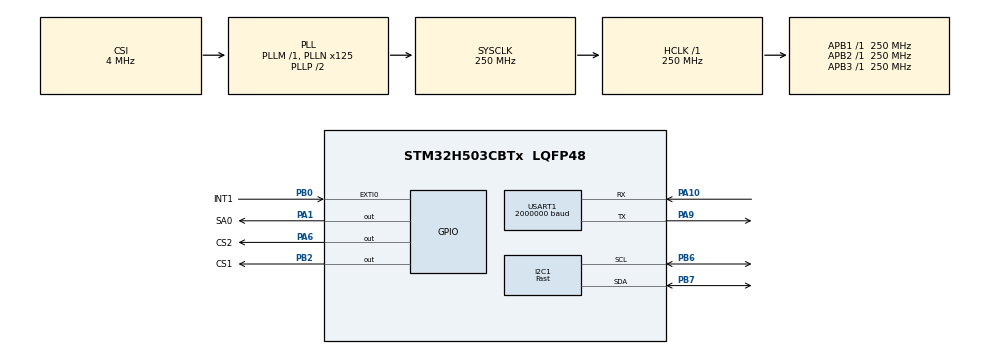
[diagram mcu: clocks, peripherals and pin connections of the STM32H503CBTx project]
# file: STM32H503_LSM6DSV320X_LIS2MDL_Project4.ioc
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I2C1.I2C_Speed_Mode=I2C_Fast
I2C1.Timing=0x10C043E5
Mcu.Family=STM32H5
Mcu.Name=STM32H503CBTx
Mcu.Package=LQFP48
NVIC.EXTI0_IRQn=true\:0\:0\:false\:false\:true\:true\:true\:true
NVIC.PriorityGroup=NVIC_PRIORITYGROUP_4
PA1.GPIO_Label=SA0
PA1.Signal=GPIO_Output
PA10.Mode=Asynchronous
PA10.Signal=USART1_RX
PA6.GPIO_Label=CS2
PA6.Signal=GPIO_Output
PA9.Mode=Asynchronous
PA9.Signal=USART1_TX
PB0.GPIO_Label=INT1
PB0.Signal=GPXTI0
PB2.GPIO_Label=CS1
PB2.Signal=GPIO_Output
PB6.Mode=I2C
PB6.Signal=I2C1_SCL
PB7.Mode=I2C
PB7.Signal=I2C1_SDA
ProjectManager.HeapSize=0x2000
ProjectManager.StackSize=0x4000
ProjectManager.TargetToolchain=MDK-ARM V5.37
RCC.ADCFreq_Value=250000000
RCC.AHBFreq_Value=250000000
RCC.APB1Freq_Value=250000000
RCC.APB1TimFreq_Value=250000000
RCC.APB2Freq_Value=250000000
RCC.APB2TimFreq_Value=250000000
RCC.APB3Freq_Value=250000000
RCC.CSI_VALUE=4000000
RCC.CortexFreq_Value=250000000
RCC.EPOD_VALUE=4000000
RCC.HCLKFreq_Value=250000000
RCC.HSE_VALUE=25000000
RCC.HSI48_VALUE=48000000
RCC.HSI_VALUE=64000000
RCC.LSE_VALUE=32768
RCC.LSIRC_VALUE=32000
RCC.PLL2FRACN=0
RCC.PLLFRACN=0
RCC.PLLN=125
RCC.SYSCLKFreq_VALUE=250000000
RCC.SYSCLKSource=RCC_SYSCLKSOURCE_PLLCLK
RCC.USBFreq_Value=48000000
RCC.VCOOutputFreq_Value=500000000
USART1.BaudRate=2000000
USART1.VirtualMode-Asynchronous=VM_ASYNC
VP_BOOTPATH_VS_BOOTPATH.Mode=BP_Activate
VP_CORTEX_M33_NS_VS_Hclk.Mode=Hclk_Mode
VP_ICACHE_VS_ICACHE.Mode=DirectMappedCache
VP_MEMORYMAP_VS_MEMORYMAP.Mode=CurAppReg
VP_PWR_VS_LPOM.Mode=PowerOptimisation
VP_PWR_VS_SECSignals.Mode=Security/Privilege
board=custom

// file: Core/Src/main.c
/* USER CODE BEGIN Header */
/**
  ******************************************************************************
  * @file           : main.c
  * @brief          : Main program body
  ******************************************************************************
  * @attention
  *
  * Copyright (c) 2026 STMicroelectronics.
  * All rights reserved.
  *
  * This software is licensed under terms that can be found in the LICENSE file
  * in the root directory of this software component.
  * If no LICENSE file comes with this software, it is provided AS-IS.
  *
  ******************************************************************************
  */
/* USER CODE END Header */
#include "main.h"
#include "i2c.h"
#include "icache.h"
#include "usart.h"
#include "gpio.h"

/* USER CODE BEGIN Includes */
#include "stdio.h"
#include "lsm6dsv320x_reg.h"
/* USER CODE END Includes */

void SystemClock_Config(void);

/* USER CODE BEGIN 0 */
int fputc(int ch, FILE *f){
	HAL_UART_Transmit(&huart1 , (uint8_t *)&ch, 1, 0xFFFF);
	return ch;
}

#define SENSOR_BUS hi2c1

/* Private macro -------------------------------------------------------------*/
#define    BOOT_TIME            10 //ms
#define    FIFO_WATERMARK       128
#define    CNT_FOR_OUTPUT       100

/* Private variables ---------------------------------------------------------*/
static uint8_t whoamI;
static uint8_t tx_buffer[1000];

static int16_t *datax;
static int16_t *datay;
static int16_t *dataz;
static int32_t *ts;
static lsm6dsv320x_filt_settling_mask_t filt_settling_mask;

/* Extern variables ----------------------------------------------------------*/

/* Private functions ---------------------------------------------------------*/

/*
 *   WARNING:
 *   Functions declare in this section are defined at the end of this file
 *   and are strictly related to the hardware platform used.
 *
 */
static int32_t platform_write(void *handle, uint8_t reg, const uint8_t *bufp,
                              uint16_t len);
static int32_t platform_read(void *handle, uint8_t reg, uint8_t *bufp,
                             uint16_t len);
static void tx_com( uint8_t *tx_buffer, uint16_t len );
static void platform_delay(uint32_t ms);
static void platform_init(void);

static   stmdev_ctx_t dev_ctx;
static double_t lowg_xl_sum[3], hg_xl_sum[3], gyro_sum[3];
static uint16_t lowg_xl_cnt = 0, hg_xl_cnt = 0, gyro_cnt = 0;

static uint16_t gravity_cnt = 0, gbias_cnt = 0, rot_cnt = 0;
static float_t gravity_sum[3], gbias_sum[3];
static double_t rot_sum[4];

static   uint8_t fifo_thread_run = 0;

static float_t npy_half_to_float(uint16_t h)
{
    union { float_t ret; uint32_t retbits; } conv;
    conv.retbits = lsm6dsv320x_from_f16_to_f32(h);
    return conv.ret;
}

typedef struct
{
  float yaw;
  float pitch;
  float roll;
} euler_angle_t;

typedef struct
{
  float quat_w;
  float quat_x;
  float quat_y;
  float quat_z;
} quaternion_t;

void quaternion_to_euler_angle(quaternion_t *q,euler_angle_t *euler)
{
		if (q->quat_w < 0.0f) {
			q->quat_x *= -1.0f;
			q->quat_y *= -1.0f;
			q->quat_z *= -1.0f;
			q->quat_w *= -1.0f;
		}

		float sqx = q->quat_x * q->quat_x;
		float sqy = q->quat_y * q->quat_y;
		float sqz = q->quat_z * q->quat_z;

		euler->yaw = -atan2f(2.0f * (q->quat_y * q->quat_w + q->quat_x * q->quat_z), 1.0f - 2.0f * (sqy + sqx));
		euler->pitch = -atan2f(2.0f * (q->quat_x * q->quat_y + q->quat_z * q->quat_w), 1.0f - 2.0f * (sqx + sqz));
		euler->roll = -asinf(2.0f * (q->quat_x * q->quat_w - q->quat_y * q->quat_z));

		if (euler->yaw < 0.0f)
		{
			euler->yaw += 2.0f * 3.1415926;
		}

		euler->yaw = 57.29578 * euler->yaw;
		euler->pitch = 57.29578 * euler->pitch;
		euler->roll = 57.29578 * euler->roll;
}

static void lsm6dsv320x_fifo_thread(void)
{
  float_t acceleration_mg[3];
  float_t angular_rate_mdps[3];
  float_t gravity_mg[3], gbias_mdps[3], quat[4];
  uint8_t *axis;

  if (fifo_thread_run) {
    lsm6dsv320x_fifo_status_t fifo_status;
    uint16_t num;

    fifo_thread_run = 0;

    /* Read watermark flag */
    lsm6dsv320x_fifo_status_get(&dev_ctx, &fifo_status);

    num = fifo_status.fifo_level;

    while (num--) {
      lsm6dsv320x_fifo_out_raw_t f_data;

      /* Read FIFO sensor value */
      lsm6dsv320x_fifo_out_raw_get(&dev_ctx, &f_data);
      datax = (int16_t *)&f_data.data[0];
      datay = (int16_t *)&f_data.data[2];
      dataz = (int16_t *)&f_data.data[4];
      ts = (int32_t *)&f_data.data[0];

      switch (f_data.tag) {
      case LSM6DSV320X_XL_NC_TAG:
        /* Read acceleration field data */
        acceleration_mg[0] = lsm6dsv320x_from_fs2_to_mg(*datax);
        acceleration_mg[1] = lsm6dsv320x_from_fs2_to_mg(*datay);
        acceleration_mg[2] = lsm6dsv320x_from_fs2_to_mg(*dataz);

        lowg_xl_sum[0] += acceleration_mg[0];
        lowg_xl_sum[1] += acceleration_mg[1];
        lowg_xl_sum[2] += acceleration_mg[2];
        lowg_xl_cnt++;
        break;

      case LSM6DSV320X_XL_HG_TAG:
        acceleration_mg[0] = lsm6dsv320x_from_fs320_to_mg(*datax);
        acceleration_mg[1] = lsm6dsv320x_from_fs320_to_mg(*datay);
        acceleration_mg[2] = lsm6dsv320x_from_fs320_to_mg(*dataz);

        hg_xl_sum[0] += acceleration_mg[0];
        hg_xl_sum[1] += acceleration_mg[1];
        hg_xl_sum[2] += acceleration_mg[2];
        hg_xl_cnt++;
        break;

      case LSM6DSV320X_GY_NC_TAG:
        angular_rate_mdps[0] = lsm6dsv320x_from_fs2000_to_mdps(*datax);
        angular_rate_mdps[1] = lsm6dsv320x_from_fs2000_to_mdps(*datay);
        angular_rate_mdps[2] = lsm6dsv320x_from_fs2000_to_mdps(*dataz);

        gyro_sum[0] += angular_rate_mdps[0];
        gyro_sum[1] += angular_rate_mdps[1];
        gyro_sum[2] += angular_rate_mdps[2];
        gyro_cnt++;
        break;

      case LSM6DSV320X_SFLP_GYROSCOPE_BIAS_TAG:
        axis = &f_data.data[0];
        gbias_mdps[0] = lsm6dsv320x_from_fs125_to_mdps(axis[0] | (axis[1] << 8));
        gbias_mdps[1] = lsm6dsv320x_from_fs125_to_mdps(axis[2] | (axis[3] << 8));
        gbias_mdps[2] = lsm6dsv320x_from_fs125_to_mdps(axis[4] | (axis[5] << 8));

        gbias_sum[0] += gbias_mdps[0];
        gbias_sum[1] += gbias_mdps[1];
        gbias_sum[2] += gbias_mdps[2];
        gbias_cnt++;
        break;

      case LSM6DSV320X_SFLP_GRAVITY_VECTOR_TAG:
        axis = &f_data.data[0];
        gravity_mg[0] = lsm6dsv320x_from_sflp_to_mg(axis[0] | (axis[1] << 8));
        gravity_mg[1] = lsm6dsv320x_from_sflp_to_mg(axis[2] | (axis[3] << 8));
        gravity_mg[2] = lsm6dsv320x_from_sflp_to_mg(axis[4] | (axis[5] << 8));

        gravity_sum[0] += gravity_mg[0];
        gravity_sum[1] += gravity_mg[1];
        gravity_sum[2] += gravity_mg[2];
        gravity_cnt++;
        break;

      case LSM6DSV320X_SFLP_GAME_ROTATION_VECTOR_TAG:
      {
        uint16_t *sflp = (uint16_t *)&f_data.data[2];

        if (f_data.data[0] == 0x00) {
          /* Game Rotation first word */
          quat[0] = lsm6dsv320x_from_quaternion_lsb_to_float(sflp[0]);
          quat[1] = lsm6dsv320x_from_quaternion_lsb_to_float(sflp[1]);
        } else if (f_data.data[0] == 0x01) {
          /* Game Rotation second word */
          quat[2] = lsm6dsv320x_from_quaternion_lsb_to_float(sflp[0]);
          quat[3] = lsm6dsv320x_from_quaternion_lsb_to_float(sflp[1]);

          rot_sum[0] += quat[0];
          rot_sum[1] += quat[1];
          rot_sum[2] += quat[2];
          rot_sum[3] += quat[3];

          rot_cnt++;
        } else {
          /* error */
          printf("[%02x - %02x] wrong word \r\n", f_data.data[0], f_data.data[1]);
       }

        break;
      }

      case LSM6DSV320X_TIMESTAMP_TAG:
        printf("TIMESTAMP [ms] %d\r\n", *ts);

        /* print avg low-g xl data */
        if (lowg_xl_cnt > 0) {
          acceleration_mg[0] = lowg_xl_sum[0] / lowg_xl_cnt;
          acceleration_mg[1] = lowg_xl_sum[1] / lowg_xl_cnt;
          acceleration_mg[2] = lowg_xl_sum[2] / lowg_xl_cnt;

          printf("lg xl (avg of %d samples) [mg]:%4.2f\t%4.2f\t%4.2f\r\n",
                  lowg_xl_cnt, acceleration_mg[0], acceleration_mg[1], acceleration_mg[2]);
          lowg_xl_sum[0] = lowg_xl_sum[1] = lowg_xl_sum[2] = 0.0;
          lowg_xl_cnt = 0;
        }

        /* print avg high-g xl data */
        if (hg_xl_cnt > 0) {
          acceleration_mg[0] = hg_xl_sum[0] / hg_xl_cnt;
          acceleration_mg[1] = hg_xl_sum[1] / hg_xl_cnt;
          acceleration_mg[2] = hg_xl_sum[2] / hg_xl_cnt;

          printf("hg xl (avg of %d samples) [mg]:%4.2f\t%4.2f\t%4.2f\r\n",
                  hg_xl_cnt, acceleration_mg[0], acceleration_mg[1], acceleration_mg[2]);
          hg_xl_sum[0] = hg_xl_sum[1] = hg_xl_sum[2] = 0.0;
          hg_xl_cnt = 0;
        }

        /* print avg gyro data */
        if (gyro_cnt > 0) {
          angular_rate_mdps[0] = gyro_sum[0] / gyro_cnt;
          angular_rate_mdps[1] = gyro_sum[1] / gyro_cnt;
          angular_rate_mdps[2] = gyro_sum[2] / gyro_cnt;

          printf("gyro (avg of %d samples) [mdps]:%4.2f\t%4.2f\t%4.2f\r\n",
                  gyro_cnt, angular_rate_mdps[0], angular_rate_mdps[1], angular_rate_mdps[2]);
          gyro_sum[0] = gyro_sum[1] = gyro_sum[2] = 0.0;
          gyro_cnt = 0;
        }

         /* print SFLP gbias data */
        if (gbias_cnt > 0) {
          gbias_mdps[0] = gbias_sum[0] / gbias_cnt;
          gbias_mdps[1] = gbias_sum[1] / gbias_cnt;
          gbias_mdps[2] = gbias_sum[2] / gbias_cnt;

          printf("SFLP gbias (avg of %d samples) [mdps]:%4.2f\t%4.2f\t%4.2f\r\n",
                  gbias_cnt, gbias_mdps[0], gbias_mdps[1], gbias_mdps[2]);
          gbias_sum[0] = gbias_sum[1] = gbias_sum[2] = 0.0;
          gbias_cnt = 0;
        }

         /* print SFLP gravity data */
        if (gravity_cnt > 0) {
          gravity_mg[0] = gravity_sum[0] / gravity_cnt;
          gravity_mg[1] = gravity_sum[1] / gravity_cnt;
          gravity_mg[2] = gravity_sum[2] / gravity_cnt;

          printf("SFLP gravity (avg of %d samples) [mg]:%4.2f\t%4.2f\t%4.2f\r\n",
                  gravity_cnt, gravity_mg[0], gravity_mg[1], gravity_mg[2]);
          gravity_sum[0] = gravity_sum[1] = gravity_sum[2] = 0.0;
          gravity_cnt = 0;
        }

         /* print SFLP game rotation data */
        if (rot_cnt > 0) {
          quat[0] = rot_sum[0] / rot_cnt;
          quat[1] = rot_sum[1] / rot_cnt;
          quat[2] = rot_sum[2] / rot_cnt;
          quat[3] = rot_sum[3] / rot_cnt;

          printf("SFLP rotation (avg of %d samples) [quaternions]:X: %2.3f\tY: %2.3f\tZ: %2.3f\tW: %2.3f\r\n\r\n",
                  rot_cnt, quat[0], quat[1], quat[2], quat[3]);
          rot_sum[0] = rot_sum[1] = rot_sum[2] = rot_sum[3] = 0.0;
          rot_cnt = 0;

        /* 轴变换：保持你“能跑通欧拉角”工程的映射 */
        quaternion_t q;
        q.quat_w =  quat[3];
        q.quat_x = -quat[1];
        q.quat_y =  quat[2];
        q.quat_z = -quat[0];

        euler_angle_t e;
        quaternion_to_euler_angle(&q, &e);

        /* 可选：Yaw 显示到 [-180, 180] */
        float yaw_print = e.yaw;
        if (yaw_print > 180.0f) {
          yaw_print -= 360.0f;
        }

        printf("Roll=%.2f, Pitch=%.2f, Yaw=%.2f\r\n",
               e.roll, e.pitch, yaw_print);

        }

        break;

      default:
        printf("[%02x] UNHANDLED TAG \r\n", f_data.tag);
        break;
      }
    }
  }
}

void HAL_GPIO_EXTI_Rising_Callback(uint16_t GPIO_Pin)
{
  if (GPIO_Pin == INT1_Pin) {
    fifo_thread_run = 1;
  }
}
/* USER CODE END 0 */

int main(void)
{

  /* MCU Configuration--------------------------------------------------------*/

  /* Reset of all peripherals, Initializes the Flash interface and the Systick. */
  HAL_Init();

  /* Configure the system clock */
  SystemClock_Config();

  /* Initialize all configured peripherals */
  MX_GPIO_Init();
  MX_I2C1_Init();
  MX_ICACHE_Init();
  MX_USART1_UART_Init();
  /* USER CODE BEGIN 2 */

	printf("HELLO!\n");
  HAL_GPIO_WritePin(CS1_GPIO_Port, CS1_Pin, GPIO_PIN_SET);
  HAL_GPIO_WritePin(SA0_GPIO_Port, SA0_Pin, GPIO_PIN_RESET);
  HAL_GPIO_WritePin(CS2_GPIO_Port, CS2_Pin, GPIO_PIN_SET);
	HAL_Delay(100);

  lsm6dsv320x_pin_int1_route_t pin_int = { 0 };

  /* Initialize mems driver interface */
  dev_ctx.write_reg = platform_write;
  dev_ctx.read_reg = platform_read;
  dev_ctx.mdelay = platform_delay;
  dev_ctx.handle = &SENSOR_BUS;

  /* Init test platform */
//  platform_init();

  /* Wait sensor boot time */
  platform_delay(BOOT_TIME);

  /* Check device ID */
  lsm6dsv320x_device_id_get(&dev_ctx, &whoamI);
	printf("LSM6DSV320X_ID=0x%x,whoamI=0x%x",LSM6DSV320X_ID,whoamI);
  if (whoamI != LSM6DSV320X_ID)
    while (1);

  /* Perform device power-on-reset */
  lsm6dsv320x_sw_por(&dev_ctx);

  /* Enable Block Data Update */
  lsm6dsv320x_block_data_update_set(&dev_ctx, PROPERTY_ENABLE);

  /*
   * Set FIFO watermark (number of unread sensor data TAG + 6 bytes
   * stored in FIFO) to FIFO_WATERMARK samples
   */
  lsm6dsv320x_fifo_watermark_set(&dev_ctx, FIFO_WATERMARK);

  /* Set FIFO batch XL/Gyro ODR */
  lsm6dsv320x_fifo_xl_batch_set(&dev_ctx, LSM6DSV320X_XL_BATCHED_AT_60Hz);
  lsm6dsv320x_fifo_hg_xl_batch_set(&dev_ctx, 1);
  lsm6dsv320x_fifo_gy_batch_set(&dev_ctx, LSM6DSV320X_GY_BATCHED_AT_120Hz);

  /* Set FIFO batch SFLP */
  lsm6dsv320x_sflp_data_rate_set(&dev_ctx, LSM6DSV320X_SFLP_120Hz);

  lsm6dsv320x_fifo_sflp_raw_t sflp =
        {
          .game_rotation = 1,
          .gravity = 1,
          .gbias = 1,
        };
  lsm6dsv320x_fifo_sflp_batch_set(&dev_ctx, sflp);

  lsm6dsv320x_sflp_game_rotation_set(&dev_ctx, PROPERTY_ENABLE);

  /* Set FIFO mode to Stream mode (aka Continuous Mode) */
  lsm6dsv320x_fifo_mode_set(&dev_ctx, LSM6DSV320X_STREAM_MODE);
  lsm6dsv320x_fifo_timestamp_batch_set(&dev_ctx, LSM6DSV320X_TMSTMP_DEC_32);
  lsm6dsv320x_timestamp_set(&dev_ctx, PROPERTY_ENABLE);

  /* Set Output Data Rate.
   * Selected data rate have to be equal or greater with respect
   * with MLC data rate.
   */
  lsm6dsv320x_xl_setup(&dev_ctx, LSM6DSV320X_ODR_AT_60Hz, LSM6DSV320X_XL_HIGH_PERFORMANCE_MD);
  lsm6dsv320x_hg_xl_data_rate_set(&dev_ctx, LSM6DSV320X_HG_XL_ODR_AT_480Hz, 0);
  lsm6dsv320x_gy_setup(&dev_ctx, LSM6DSV320X_ODR_AT_120Hz, LSM6DSV320X_GY_HIGH_PERFORMANCE_MD);

  /* Set full scale */
  lsm6dsv320x_xl_full_scale_set(&dev_ctx, LSM6DSV320X_2g);
  lsm6dsv320x_hg_xl_full_scale_set(&dev_ctx, LSM6DSV320X_320g);
  lsm6dsv320x_gy_full_scale_set(&dev_ctx, LSM6DSV320X_2000dps);

  /* Configure filtering chain */
  filt_settling_mask.drdy = PROPERTY_ENABLE;
  filt_settling_mask.irq_xl = PROPERTY_ENABLE;
  filt_settling_mask.irq_g = PROPERTY_ENABLE;
  lsm6dsv320x_filt_settling_mask_set(&dev_ctx, filt_settling_mask);
  lsm6dsv320x_filt_gy_lp1_set(&dev_ctx, PROPERTY_ENABLE);
  lsm6dsv320x_filt_gy_lp1_bandwidth_set(&dev_ctx, LSM6DSV320X_GY_ULTRA_LIGHT);
  lsm6dsv320x_filt_xl_lp2_set(&dev_ctx, PROPERTY_ENABLE);
  lsm6dsv320x_filt_xl_lp2_bandwidth_set(&dev_ctx, LSM6DSV320X_XL_STRONG);

  /* enable fifo_th on High-G XL (sensor at highest frequency) */
  pin_int.fifo_th = PROPERTY_ENABLE;
  lsm6dsv320x_pin_int1_route_set(&dev_ctx, &pin_int);
  //lsm6dsv320x_pin_int2_route_set(&dev_ctx, &pin_int);
  /* USER CODE END 2 */

  /* Infinite loop */
  /* USER CODE BEGIN WHILE */
  while (1)
  {
		lsm6dsv320x_fifo_thread();
    /* USER CODE END WHILE */

  }
}

void SystemClock_Config(void)
{
  RCC_OscInitTypeDef RCC_OscInitStruct = {0};
  RCC_ClkInitTypeDef RCC_ClkInitStruct = {0};

  /** Configure the main internal regulator output voltage
  */
  __HAL_PWR_VOLTAGESCALING_CONFIG(PWR_REGULATOR_VOLTAGE_SCALE0);

  while(!__HAL_PWR_GET_FLAG(PWR_FLAG_VOSRDY)) {}

  /** Initializes the RCC Oscillators according to the specified parameters
  * in the RCC_OscInitTypeDef structure.
  */
  RCC_OscInitStruct.OscillatorType = RCC_OSCILLATORTYPE_CSI;
  RCC_OscInitStruct.CSIState = RCC_CSI_ON;
  RCC_OscInitStruct.CSICalibrationValue = RCC_CSICALIBRATION_DEFAULT;
  RCC_OscInitStruct.PLL.PLLState = RCC_PLL_ON;
  RCC_OscInitStruct.PLL.PLLSource = RCC_PLL1_SOURCE_CSI;
  RCC_OscInitStruct.PLL.PLLM = 1;
  RCC_OscInitStruct.PLL.PLLN = 125;
  RCC_OscInitStruct.PLL.PLLP = 2;
  RCC_OscInitStruct.PLL.PLLQ = 2;
  RCC_OscInitStruct.PLL.PLLR = 2;
  RCC_OscInitStruct.PLL.PLLRGE = RCC_PLL1_VCIRANGE_2;
  RCC_OscInitStruct.PLL.PLLVCOSEL = RCC_PLL1_VCORANGE_WIDE;
  RCC_OscInitStruct.PLL.PLLFRACN = 0;
  if (HAL_RCC_OscConfig(&RCC_OscInitStruct) != HAL_OK)
  {
    Error_Handler();
  }

  /** Initializes the CPU, AHB and APB buses clocks
  */
  RCC_ClkInitStruct.ClockType = RCC_CLOCKTYPE_HCLK|RCC_CLOCKTYPE_SYSCLK
                              |RCC_CLOCKTYPE_PCLK1|RCC_CLOCKTYPE_PCLK2
                              |RCC_CLOCKTYPE_PCLK3;
  RCC_ClkInitStruct.SYSCLKSource = RCC_SYSCLKSOURCE_PLLCLK;
  RCC_ClkInitStruct.AHBCLKDivider = RCC_SYSCLK_DIV1;
  RCC_ClkInitStruct.APB1CLKDivider = RCC_HCLK_DIV1;
  RCC_ClkInitStruct.APB2CLKDivider = RCC_HCLK_DIV1;
  RCC_ClkInitStruct.APB3CLKDivider = RCC_HCLK_DIV1;

  if (HAL_RCC_ClockConfig(&RCC_ClkInitStruct, FLASH_LATENCY_5) != HAL_OK)
  {
    Error_Handler();
  }

  /** Configure the programming delay
  */
  __HAL_FLASH_SET_PROGRAM_DELAY(FLASH_PROGRAMMING_DELAY_2);
}

/* USER CODE BEGIN 4 */
/*
 * @brief  Write generic device register (platform dependent)
 *
 * @param  handle    customizable argument. In this examples is used in
 *                   order to select the correct sensor bus handler.
 * @param  reg       register to write
 * @param  bufp      pointer to data to write in register reg
 * @param  len       number of consecutive register to write
 *
 */
static int32_t platform_write(void *handle, uint8_t reg, const uint8_t *bufp,
                              uint16_t len)
{
  HAL_I2C_Mem_Write(handle, LSM6DSV320X_I2C_ADD_L, reg,
                    I2C_MEMADD_SIZE_8BIT, (uint8_t*) bufp, len, 1000);

  return 0;
}

/*
 * @brief  Read generic device register (platform dependent)
 *
 * @param  handle    customizable argument. In this examples is used in
 *                   order to select the correct sensor bus handler.
 * @param  reg       register to read
 * @param  bufp      pointer to buffer that store the data read
 * @param  len       number of consecutive register to read
 *
 */
static int32_t platform_read(void *handle, uint8_t reg, uint8_t *bufp,
                             uint16_t len)
{
  HAL_I2C_Mem_Read(handle, LSM6DSV320X_I2C_ADD_L, reg,
                   I2C_MEMADD_SIZE_8BIT, bufp, len, 1000);
  return 0;
}

/*
 * @brief  platform specific delay (platform dependent)
 *
 * @param  ms        delay in ms
 *
 */
static void platform_delay(uint32_t ms)
{

  HAL_Delay(ms);
}

/* USER CODE END 4 */

void Error_Handler(void)
{
  __disable_irq();
  while (1)
  {
  }
}
